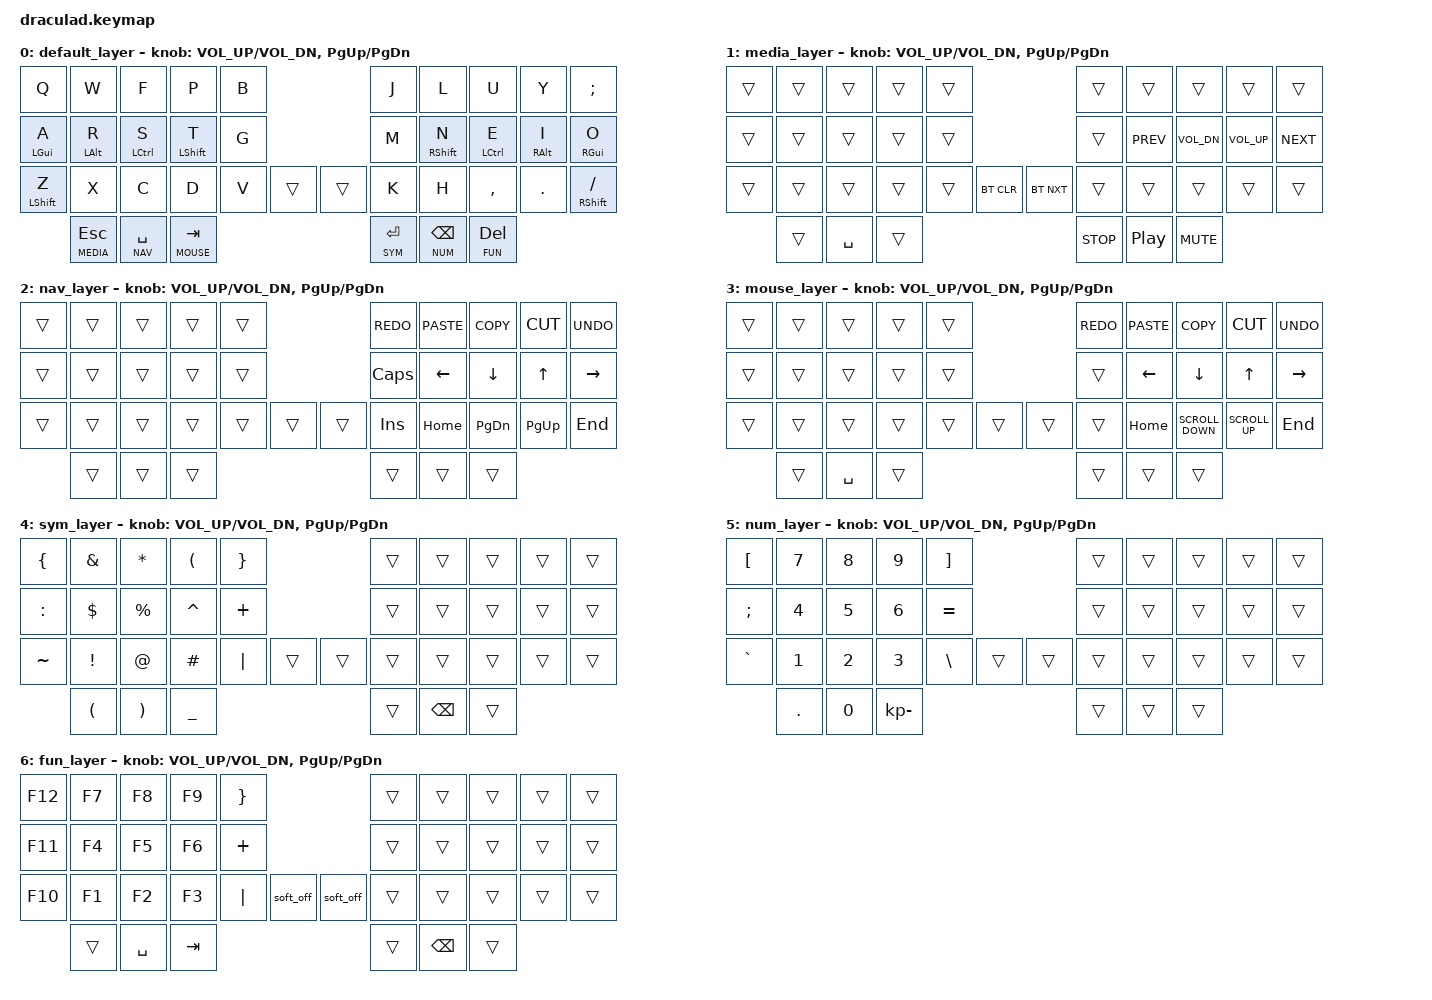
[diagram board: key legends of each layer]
#include <behaviors.dtsi>
#include <dt-bindings/zmk/keys.h>
#include <dt-bindings/zmk/bt.h>

#define DEFAULT 0
#define MEDIA   1
#define NAV     2
#define MOUSE   3
#define SYM     4
#define NUM     5
#define FUN     6

&mt {
    tapping-term-ms = <800>;
};

&lt {
    tapping-term-ms = <400>;
};

&soft_off {
    hold-time-ms = <5000>; // Only turn off it the key is held for 5 seconds or longer.
};

/ {
  combos {
    #include "combos.dtsi"    
  };

  macros {
    #include "macros.dtsi"
  };

  keymap {
    compatible = "zmk,keymap";


    default_layer {
      bindings = <
        &kp Q         &kp W         &kp F         &kp P         &kp B                       &kp J  &kp L         &kp U       &kp Y       &kp SEMI        
        &mt LGUI A    &mt LALT R    &mt LCTRL S   &mt LSHIFT T  &kp G                       &kp M  &mt RSHFT N   &mt LCTRL E &mt RALT I  &mt RGUI O     
        &mt LSHFT Z   &kp X         &kp C         &kp D         &kp V  &trans    &trans     &kp K  &kp H         &kp COMMA   &kp DOT     &mt RSHFT FSLH  
                        &lt MEDIA ESC  &lt NAV SPACE    &lt MOUSE TAB                       &lt SYM RET  &lt NUM BSPC  &lt FUN DEL     
      >;
      sensor-bindings = <&inc_dec_kp C_VOL_UP C_VOL_DN &inc_dec_kp PG_UP PG_DN>;
    };

    media_layer { 
      bindings = <
        &trans    &trans  &trans   &trans   &trans                            &trans      &trans            &trans        &trans        &trans      
        &trans    &trans  &trans   &trans   &trans                            &trans      &kp K_PREV        &kp C_VOL_DN  &kp C_VOL_UP  &kp K_NEXT  
        &trans    &trans  &trans   &trans   &trans    &bt BT_CLR &bt BT_NXT   &trans      &trans            &trans        &trans        &trans     
                         &trans   &kp SPACE   &trans                          &kp C_STOP  &kp C_PLAY_PAUSE  &kp C_MUTE    
      >;
      sensor-bindings = <&inc_dec_kp C_VOL_UP C_VOL_DN &inc_dec_kp PG_UP PG_DN>;
    };

    nav_layer { 
      bindings = <
        &trans    &trans  &trans   &trans   &trans                          &kp K_REDO          &kp K_PASTE     &kp K_COPY  &kp K_CUT   &kp K_UNDO  
        &trans    &trans  &trans   &trans   &trans                          &kp CAPS            &kp LEFT        &kp DOWN    &kp UP      &kp RIGHT   
        &trans    &trans  &trans   &trans   &trans    &trans    &trans      &kp INSERT          &kp HOME        &kp PG_DN   &kp PG_UP   &kp END     
                         &trans   &trans   &trans                          &trans              &trans       &trans      
      >;
      sensor-bindings = <&inc_dec_kp C_VOL_UP C_VOL_DN &inc_dec_kp PG_UP PG_DN>;
    };

    mouse_layer { 
      bindings = <
        &trans    &trans  &trans   &trans   &trans                          &kp K_REDO  &kp K_PASTE   &kp K_COPY        &kp K_CUT       &kp K_UNDO  
        &trans    &trans  &trans   &trans   &trans                          &trans      &kp LEFT      &kp DOWN          &kp UP          &kp RIGHT   
        &trans    &trans  &trans   &trans   &trans    &trans    &trans      &trans      &kp HOME      &kp K_SCROLL_DOWN &kp K_SCROLL_UP &kp END     
                         &trans   &kp SPACE   &trans                          &trans      &trans       &trans 
      >;
      sensor-bindings = <&inc_dec_kp C_VOL_UP C_VOL_DN &inc_dec_kp PG_UP PG_DN>;
    };

    sym_layer { 
      bindings = <
        &kp LBRC    &kp AMPS  &kp ASTRK   &kp LPAR    &kp RBRC                        &trans     &trans     &trans      &trans      &trans
        &kp COLON   &kp DLLR  &kp PRCNT   &kp CARET   &kp PLUS                        &trans     &trans     &trans      &trans      &trans
        &kp TILDE   &kp EXCL  &kp AT      &kp POUND   &kp PIPE    &trans    &trans    &trans     &trans     &trans      &trans      &trans
                            &kp LPAR   &kp RPAR   &kp UNDER                             &trans     &kp BSPC     &trans
      >;
      sensor-bindings = <&inc_dec_kp C_VOL_UP C_VOL_DN &inc_dec_kp PG_UP PG_DN>;
    };

    num_layer { 
      bindings = <
        &kp LBKT   &kp N7  &kp N8   &kp N9  &kp RBKT                            &trans     &trans     &trans      &trans  &trans
        &kp SEMI   &kp N4  &kp N5   &kp N6  &kp EQUAL                           &trans     &trans     &trans      &trans  &trans
        &kp GRAVE  &kp N1  &kp N2   &kp N3  &kp BSLH        &trans    &trans    &trans     &trans     &trans      &trans  &trans
                      &kp DOT   &kp N0  &kp KP_MINUS                             &trans     &trans     &trans 
      >;
      sensor-bindings = <&inc_dec_kp C_VOL_UP C_VOL_DN &inc_dec_kp PG_UP PG_DN>;
    };

    fun_layer { 
      bindings = <
        &kp F12   &kp F7  &kp F8   &kp F9  &kp RBRC                          &trans     &trans     &trans      &trans      &trans
        &kp F11   &kp F4  &kp F5   &kp F6  &kp PLUS                          &trans     &trans     &trans      &trans      &trans
        &kp F10   &kp F1  &kp F2   &kp F3  &kp PIPE  &soft_off  &soft_off    &trans     &trans     &trans      &trans      &trans
                        &trans   &kp SPACE  &kp TAB                            &trans     &kp BSPC     &trans
      >;
      sensor-bindings = <&inc_dec_kp C_VOL_UP C_VOL_DN &inc_dec_kp PG_UP PG_DN>;
    };

  };
}; 
